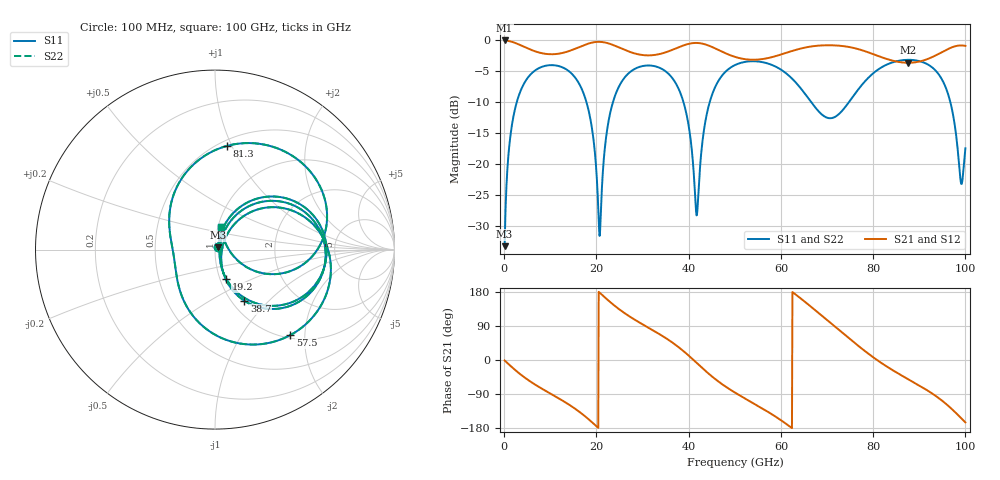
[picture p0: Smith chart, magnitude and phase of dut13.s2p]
! Touchstone file exported from HFSS 2026.1.0
!  File:  C:/ffzhzh/LocalFiles/Ansys_Project_Files/temp_train_TSV_RDL_13_1783613047_26216.aedt
!  Generated:  12:13:19 AM Jul 10, 2026
!  Design:  TSV_RDL
!  Project:  temp_train_TSV_RDL_13_1783613047_26216
! Variables:
!  h_bsmrdl = 3.1um
!  h_ox = 20um
!  h_rdl = 5um
!  h_sub = 59.3um
!  h_tmrdl = 3.96um
!  h_tsv = 59.3um
!  h_via = 3um
!  l_bsmrdl = 394.12um
!  l_sub = 3114.31um
!  l_tmrdl = 354.12um
!  m_sub = 200um
!  pitch = 54.2um
!  r_tsv = 6um
!  s_tmrdl = 10um
!  w_bsmrdl = 13.33um
!  w_sub = 500um
!  w_tmrdl = 25.16um
!  x_tsv_center1 = 366.7um
!  x_tsv_center2 = 774.15um
!  x_tsv_center3 = 1153.43um
!  x_tsv_center4 = 1560.88um
!  x_tsv_center5 = 1940.16um
!  x_tsv_center6 = 2347.61um
# GHz S MA R 50.000000
! Terminal data exported
! Port[1] = TM_RDL1_1_T1
! Port[2] = TM_RDL5_1_T1
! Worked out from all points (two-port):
!   1000 points, 100 MHz to 100 GHz, reference 50 ohm
!   highest |S21| = -0.15 dB at 100 MHz (marker M1); lowest = -3.7 dB at 87.6 GHz (marker M2)
!   |S21| within 3 dB of the highest: start of sweep to 52.07 GHz; 55.99 GHz to 83.02 GHz (27.03 GHz wide, 38.9 % of centre) (the widest 2 of 3)
!   lowest |S11| = -33.3 dB at 100 MHz (marker M3), VSWR 1.04, Z = 51.8 + j1.33 ohm
!   |S11| at or under -10 dB: 17.81 GHz to 23.62 GHz (5.815 GHz wide, 28.1 % of centre); 38.84 GHz to 44.6 GHz (5.755 GHz wide, 13.8 % of centre); 66.48 GHz to 74.84 GHz (8.355 GHz wide, 11.8 % of centre) (the widest 3 of 5)
!   |S22| runs from -33.3 to -3.3 dB; largest |S21 - S12| = 3e-13
!   S11 on the Smith chart (normalised r, x): 100 MHz: 1.04, +0.03; 19.2 GHz: 1.07, -0.36; 38.7 GHz: 1.14, -0.73; 57.5 GHz: 1.06, -1.69; 81.3 GHz: 0.55, +0.96; 100 GHz: 1.04, +0.27
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0.1  0.02165 36.5  0.9828 -1.2  0.9828 -1.2  0.02165 36.5
! Gamma 0 0 0 0
! Port Impedance 50 0 50 0
1.6  0.195 65.9  0.9603 -18.0  0.9603 -18.0  0.195 65.9
4.4  0.4479 41.3  0.8714 -45.9  0.8714 -45.9  0.4479 41.3
10.5  0.6217 -3.2  0.7612 -92.0  0.7612 -92.0  0.6217 -3.2
16.8  0.4014 -49.9  0.8853 -141.3  0.8853 -141.3  0.4015 -49.9
19.2  0.1753 -68.9  0.9467 -165.8  0.9467 -165.8  0.1753 -68.9
20.7  0.0262 -3.9  0.9578 177.7  0.9578 177.7  0.02599 -3.9
24.4  0.3816 44.6  0.8791 138.9  0.8791 138.9  0.3816 44.6
33.4  0.5981 -19.7  0.7596 70.2  0.7596 70.2  0.5981 -19.8
38.7  0.3292 -60.1  0.8915 25.3  0.8915 25.3  0.3292 -60.1
41.8  0.03868 1.1  0.9384 -8.3  0.9384 -8.3  0.03868 1.0
44.6  0.3163 44.2  0.886 -38.8  0.886 -38.8  0.3162 44.1
50.1  0.624 1.6  0.7238 -86.4  0.7238 -86.4  0.624 1.6
57.5  0.6351 -48.5  0.713 -139.1  0.713 -139.1  0.6351 -48.6
66.7  0.3084 -128.3  0.8805 138.8  0.8805 138.8  0.3085 -128.2
72.8  0.2555 165.3  0.8907 77.2  0.8907 77.2  0.2555 165.5
81.3  0.5806 83.6  0.7319 -3.9  0.7319 -3.9  0.5805 83.7
83.4  0.6385 67.5  0.6888 -20.6  0.6888 -20.6  0.6384 67.6
87.6  0.6863 38.9  0.6498 -50.7  0.6498 -50.7  0.6863 38.9
95.4  0.4394 -15.6  0.8089 -111.8  0.8089 -111.8  0.4393 -15.7
99  0.07149 9.7  0.896 -152.5  0.896 -152.5  0.07069 9.4
100  0.1331 74.2  0.8888 -164.6  0.8888 -164.6  0.1326 74.5
